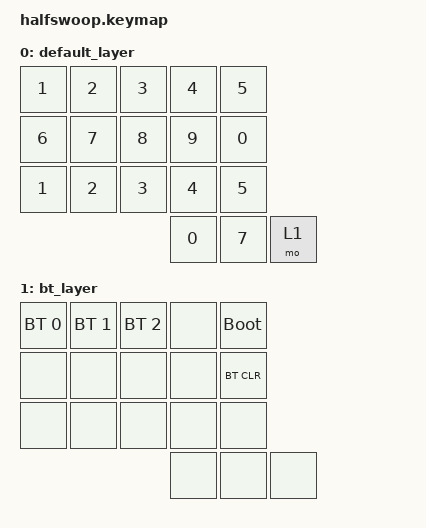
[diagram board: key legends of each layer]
#include <behaviors.dtsi>
#include <dt-bindings/zmk/keys.h>
#include <dt-bindings/zmk/bt.h>

/ {
    keymap {
        compatible = "zmk,keymap";

        default_layer {
            bindings = <
                &kp N1    &kp N2    &kp N3    &kp N4    &kp N5
                &kp N6    &kp N7    &kp N8    &kp N9    &kp N0
                &kp N1    &kp N2    &kp N3    &kp N4    &kp N5
                                          &kp N0    &kp N7    &mo 1
            >;
        };

        bt_layer {
            bindings = <
                &bt BT_SEL 0   &bt BT_SEL 1    &bt BT_SEL 2    &none    &bootloader
                &none    &none    &none    &none    &bt BT_CLR
                &none    &none    &none    &none    &none
                                  &none    &none    &none
            >;
        };
    };
};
